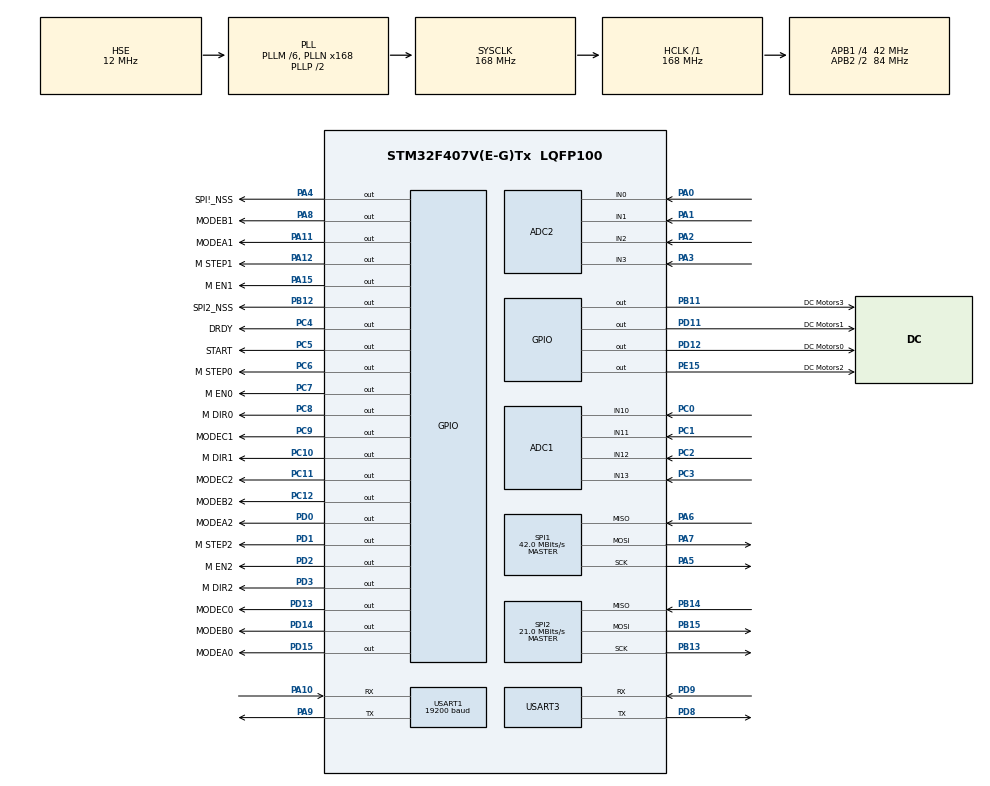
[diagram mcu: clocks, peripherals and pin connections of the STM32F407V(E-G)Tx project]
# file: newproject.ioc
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ADC1.Channel-0\#ChannelRegularConversion=ADC_CHANNEL_11
ADC1.ContinuousConvMode=ENABLE
ADC1.DiscontinuousConvMode=DISABLE
ADC1.InjNumberOfConversion=0
ADC1.NbrOfConversion=1
ADC1.NbrOfConversionFlag=1
ADC1.Rank-0\#ChannelRegularConversion=1
ADC1.SamplingTime-0\#ChannelRegularConversion=ADC_SAMPLETIME_3CYCLES
ADC1.ScanConvMode=ENABLE
ADC1.master=1
ADC2.Channel-0\#ChannelRegularConversion=ADC_CHANNEL_0
ADC2.ContinuousConvMode=ENABLE
ADC2.NbrOfConversionFlag=1
ADC2.Rank-0\#ChannelRegularConversion=1
ADC2.SamplingTime-0\#ChannelRegularConversion=ADC_SAMPLETIME_3CYCLES
ADC2.ScanConvMode=ENABLE
FREERTOS.Tasks01=defaultTask,0,128,StartDefaultTask,Default,NULL,Dynamic,NULL,NULL
FREERTOS.configENABLE_FPU=1
Mcu.Family=STM32F4
Mcu.Name=STM32F407V(E-G)Tx
Mcu.Package=LQFP100
NVIC.PriorityGroup=NVIC_PRIORITYGROUP_4
NVIC.TIM2_IRQn=true\:5\:0\:false\:false\:true\:true\:true\:true\:true
NVIC.USART1_IRQn=true\:5\:0\:false\:false\:true\:true\:true\:true\:true
PA0-WKUP.Signal=ADCx_IN0
PA1.Signal=ADCx_IN1
PA10.Mode=Asynchronous
PA10.Signal=USART1_RX
PA11.GPIO_Label=MODEA1
PA11.Signal=GPIO_Output
PA12.GPIO_Label=M STEP1
PA12.Signal=GPIO_Output
PA13.Mode=Serial_Wire
PA13.Signal=SYS_JTMS-SWDIO
PA14.Mode=Serial_Wire
PA14.Signal=SYS_JTCK-SWCLK
PA15.GPIO_Label=M EN1
PA15.Signal=GPIO_Output
PA2.Signal=ADCx_IN2
PA3.Signal=ADCx_IN3
PA4.GPIO_Label=SPI\!_NSS
PA4.Signal=GPIO_Output
PA5.Mode=Full_Duplex_Master
PA5.Signal=SPI1_SCK
PA6.Mode=Full_Duplex_Master
PA6.Signal=SPI1_MISO
PA7.Mode=Full_Duplex_Master
PA7.Signal=SPI1_MOSI
PA8.GPIO_Label=MODEB1
PA8.Signal=GPIO_Output
PA9.Mode=Asynchronous
PA9.Signal=USART1_TX
PB11.GPIO_Label=DC Motors3
PB11.Signal=GPIO_Output
PB12.GPIO_Label=SPI2_NSS
PB12.Signal=GPIO_Output
PB13.Mode=Full_Duplex_Master
PB13.Signal=SPI2_SCK
PB14.Mode=Full_Duplex_Master
PB14.Signal=SPI2_MISO
PB15.Mode=Full_Duplex_Master
PB15.Signal=SPI2_MOSI
PC0.Signal=ADCx_IN10
PC1.Signal=ADCx_IN11
PC10.GPIO_Label=M DIR1
PC10.Signal=GPIO_Output
PC11.GPIO_Label=MODEC2
PC11.Signal=GPIO_Output
PC12.GPIO_Label=MODEB2
PC12.Signal=GPIO_Output
PC2.Signal=ADCx_IN12
PC3.Signal=ADCx_IN13
PC4.GPIO_Label=DRDY
PC4.Signal=GPIO_Output
PC5.GPIO_Label=START
PC5.Signal=GPIO_Output
PC6.GPIO_Label=M STEP0
PC6.Signal=GPIO_Output
PC7.GPIO_Label=M EN0
PC7.Signal=GPIO_Output
PC8.GPIO_Label=M DIR0
PC8.Signal=GPIO_Output
PC9.GPIO_Label=MODEC1
PC9.Signal=GPIO_Output
PD0.GPIO_Label=MODEA2
PD0.Signal=GPIO_Output
PD1.GPIO_Label=M STEP2
PD1.Signal=GPIO_Output
PD11.GPIO_Label=DC Motors1
PD11.Signal=GPIO_Output
PD12.GPIO_Label=DC Motors0
PD12.Signal=GPIO_Output
PD13.GPIO_Label=MODEC0
PD13.Signal=GPIO_Output
PD14.GPIO_Label=MODEB0
PD14.Signal=GPIO_Output
PD15.GPIO_Label=MODEA0
PD15.Signal=GPIO_Output
PD2.GPIO_Label=M EN2
PD2.Signal=GPIO_Output
PD3.GPIO_Label=M DIR2
PD3.Signal=GPIO_Output
PD8.Mode=Asynchronous
PD8.Signal=USART3_TX
PD9.Mode=Asynchronous
PD9.Signal=USART3_RX
PE15.GPIO_Label=DC Motors2
PE15.Signal=GPIO_Output
PH0-OSC_IN.Mode=HSE-External-Oscillator
PH0-OSC_IN.Signal=RCC_OSC_IN
PH1-OSC_OUT.Mode=HSE-External-Oscillator
PH1-OSC_OUT.Signal=RCC_OSC_OUT
ProjectManager.HeapSize=0x200
ProjectManager.StackSize=0x400
ProjectManager.TargetToolchain=MDK-ARM V5
RCC.48MHZClocksFreq_Value=84000000
RCC.AHBFreq_Value=168000000
RCC.APB1CLKDivider=RCC_HCLK_DIV4
RCC.APB1Freq_Value=42000000
RCC.APB1TimFreq_Value=84000000
RCC.APB2CLKDivider=RCC_HCLK_DIV2
RCC.APB2Freq_Value=84000000
RCC.APB2TimFreq_Value=168000000
RCC.CortexFreq_Value=168000000
RCC.HCLKFreq_Value=168000000
RCC.HSE_VALUE=12000000
RCC.HSI_VALUE=16000000
RCC.LSE_VALUE=32768
RCC.PLLM=6
RCC.PLLN=168
RCC.PLLSourceVirtual=RCC_PLLSOURCE_HSE
RCC.SYSCLKFreq_VALUE=168000000
RCC.SYSCLKSource=RCC_SYSCLKSOURCE_PLLCLK
RCC.VCOOutputFreq_Value=336000000
SH.ADCx_IN0.0=ADC2_IN0,IN0
SH.ADCx_IN1.0=ADC2_IN1,IN1
SH.ADCx_IN10.0=ADC1_IN10,IN10
SH.ADCx_IN11.0=ADC1_IN11,IN11
SH.ADCx_IN12.0=ADC1_IN12,IN12
SH.ADCx_IN13.0=ADC1_IN13,IN13
SH.ADCx_IN2.0=ADC2_IN2,IN2
SH.ADCx_IN3.0=ADC2_IN3,IN3
SPI1.CalculateBaudRate=42.0 MBits/s
SPI1.Direction=SPI_DIRECTION_2LINES
SPI1.Mode=SPI_MODE_MASTER
SPI1.VirtualType=VM_MASTER
SPI2.CalculateBaudRate=21.0 MBits/s
SPI2.Direction=SPI_DIRECTION_2LINES
SPI2.Mode=SPI_MODE_MASTER
SPI2.VirtualType=VM_MASTER
TIM2.AutoReloadPreload=TIM_AUTORELOAD_PRELOAD_ENABLE
TIM2.Period=240
TIM2.Prescaler=28
USART1.BaudRate=19200
USART1.VirtualMode=VM_ASYNC
USART3.VirtualMode=VM_ASYNC
VP_FREERTOS_VS_CMSIS_V1.Mode=CMSIS_V1
VP_TIM2_VS_ClockSourceINT.Mode=Internal
board=custom

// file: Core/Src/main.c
/* USER CODE BEGIN Header */
/**
  ******************************************************************************
  * @file           : main.c
  * @brief          : Main program body
  ******************************************************************************
    * @attention
  *
  * Copyright (c) 2026 STMicroelectronics.
  * All rights reserved.
  *
  * This software is licensed under terms that can be found in the LICENSE file
  * in the root directory of this software component.
  * If no LICENSE file comes with this software, it is provided AS-IS.
  *
  ******************************************************************************
	*/
/* USER CODE END Header */

#include "main.h"
#include "cmsis_os.h"
#include "adc.h"
#include "spi.h"
#include "tim.h"
#include "usart.h"
#include "gpio.h"

/* USER CODE BEGIN Includes */
#include <string.h>
#include <stdio.h>
#include <stdlib.h>
#include <ctype.h>
#include <stdarg.h>
#include <math.h>
/* USER CODE END Includes */

/* USER CODE BEGIN PD */
#define RX_BUFFER_SIZE 64
#define ADC_TIMEOUT    10
#define STABLE_DELAY_MS 500
/* USER CODE END PD */

/* USER CODE BEGIN PV */
StepperMotor motors[MOTOR_COUNT];
volatile uint32_t step_timer_count = 0;

// 串口接收
uint8_t rx_byte;
char rx_buffer[RX_BUFFER_SIZE];
uint8_t rx_index = 0;
uint8_t cmd_ready = 0;
char cmd_buffer[RX_BUFFER_SIZE];

// 流程控制
ProcessCtrl procCtrl = {
    .state = SYS_IDLE,
    .current_op = OP_NONE,
    .current_step = 0,
    .step_start_time = 0,
    .wait_start_time = 0,
    .steps = NULL,
    .step_count = 0
};

// 调试模式
uint8_t debug_mode = 0;

// 上次结果
LastResults lastResults = {
    .sample_result = "",
    .urine_result = "",
    .slope_result = ""
};

// 校准参数
CalibrationParam cal_na = {DEFAULT_SLOPE_NA, DEFAULT_INTERCEPT, 0};
CalibrationParam cal_k  = {DEFAULT_SLOPE_K, DEFAULT_INTERCEPT, 0};
CalibrationParam cal_cl = {DEFAULT_SLOPE_CL, DEFAULT_INTERCEPT, 0};

// 版本信息
const char* version_str = "DISU4-760148-10C Ver1.0.00\r\n";

// 临时存储标液测量值（用于CAL）
static float stda_na_mv, stda_k_mv, stda_cl_mv;
static float stdb_na_mv, stdb_k_mv, stdb_cl_mv;
static uint8_t stda_measured = 0;

/* USER CODE END PV */

void SystemClock_Config(void);
void MX_FREERTOS_Init(void);

/* USER CODE BEGIN PFP */
// 电机动作函数（静态）声明
static void action_cal_step1(void);
static void action_cal_step2(void);
static void action_cal_step3(void);
static void action_cal_step4(void);
static void action_cal_step5(void);
static void action_cal_step6(void);
static void action_cal_step7(void);
static void action_sample_measure(void);
static void action_urine_measure(void);
static void action_prime_stda(void);
static void action_prime_stdb(void);

// 简单动作函数声明
static void action_clean(void);
static void action_power_clean(void);
static void action_none(void);
static void action_prime_ref(void);
static void action_prime_diluted(void);
static void action_disp_stda(void);
static void action_disp_stdb(void);

// 电机移动辅助函数
static void Motor_MoveSteps(uint8_t motor_id, uint32_t steps, uint8_t dir);
static void Motor_MoveStepsWithLiquidCheck(uint8_t motor_id, uint32_t steps, uint8_t dir, uint8_t enable_check);
static void MeasureAndDispense(const char* result_prefix, uint8_t is_cal, uint8_t cal_step);
/* USER CODE END PFP */

/* USER CODE BEGIN 0 */

// ---------- ADC 读取函数 ----------
float ADC_ReadVoltage(ADC_HandleTypeDef* hadc, uint32_t channel) {
    ADC_ChannelConfTypeDef sConfig = {0};
    sConfig.Channel = channel;
    sConfig.Rank = 1;
    sConfig.SamplingTime = ADC_SAMPLETIME_3CYCLES;
    HAL_ADC_ConfigChannel(hadc, &sConfig);
    HAL_ADC_Start(hadc);
    if (HAL_ADC_PollForConversion(hadc, ADC_TIMEOUT) == HAL_OK) {
        uint32_t adc_val = HAL_ADC_GetValue(hadc);
        HAL_ADC_Stop(hadc);
        return (adc_val * 3.0f) / 4095.0f;
    }
    HAL_ADC_Stop(hadc);
    return 0.0f;
}

float Read_Temperature(void) {
    float v = ADC_ReadVoltage(&hadc2, ADC_TEMP_CHANNEL);
    return TEMP_SLOPE * v + TEMP_OFFSET;
}

void Read_ElectrodeMV(float* na, float* k, float* cl, float* ref) {
    *na  = ADC_ReadVoltage(&hadc1, ADC_NA_CHANNEL) * 1000.0f;
    *k   = ADC_ReadVoltage(&hadc1, ADC_K_CHANNEL) * 1000.0f;
    *cl  = ADC_ReadVoltage(&hadc1, ADC_CL_CHANNEL) * 1000.0f;
    *ref = ADC_ReadVoltage(&hadc1, ADC_REF_CHANNEL) * 1000.0f;
}

float CalculateConcentration(float mv, float ref_mv, CalibrationParam* cal, float temp) {
    float e = mv - ref_mv;
    float s = cal->slope * (temp + 273.15f) / 298.15f;
    return powf(10.0f, (e - cal->intercept) / s);
}

// 执行两点校准
void PerformCalibration(float na_mv_stda, float k_mv_stda, float cl_mv_stda,
                        float na_mv_stdb, float k_mv_stdb, float cl_mv_stdb) {
    float temp = Read_Temperature();
    // 计算差值
    float e_na_a = na_mv_stda;
    float e_k_a  = k_mv_stda;
    float e_cl_a = cl_mv_stda;
    float e_na_b = na_mv_stdb;
    float e_k_b  = k_mv_stdb;
    float e_cl_b = cl_mv_stdb;

    // 计算斜率
    cal_na.slope = (e_na_b - e_na_a) / (log10f(STD_B_NA) - log10f(STD_A_NA));
    cal_na.intercept = e_na_a - cal_na.slope * log10f(STD_A_NA);
    cal_na.valid = 1;

    cal_k.slope = (e_k_b - e_k_a) / (log10f(STD_B_K) - log10f(STD_A_K));
    cal_k.intercept = e_k_a - cal_k.slope * log10f(STD_A_K);
    cal_k.valid = 1;

    cal_cl.slope = (e_cl_b - e_cl_a) / (log10f(STD_B_CL) - log10f(STD_A_CL));
    cal_cl.intercept = e_cl_a - cal_cl.slope * log10f(STD_A_CL);
    cal_cl.valid = 1;

    // 保存斜率结果
    snprintf(lastResults.slope_result, sizeof(lastResults.slope_result),
             "CAL_Na %.2f K %.2f Cl %.2f\r\n", cal_na.slope, cal_k.slope, cal_cl.slope);
}

// 更新上次结果
void UpdateLastResult(const char* type, float na, float k, float cl) {
    if (strcmp(type, "SAMPLE") == 0) {
        snprintf(lastResults.sample_result, sizeof(lastResults.sample_result),
                 "SAMPLE_Na %.2f K %.2f Cl %.2f\r\n", na, k, cl);
    } else if (strcmp(type, "URINE") == 0) {
        snprintf(lastResults.urine_result, sizeof(lastResults.urine_result),
                 "URINE_Na %.2f K %.2f Cl %.2f\r\n", na, k, cl);
    }
}

// ---------- 电机移动辅助函数 ----------
// 启动电机并等待完成（阻塞）
static void Motor_MoveSteps(uint8_t motor_id, uint32_t steps, uint8_t dir) {
    if (motor_id == 0) {
        Motor_StartMove(0, steps, 1);
    } else {
        Motor_StartMove(motor_id, steps, dir);
    }
    while (motors[motor_id].is_moving) {
        osDelay(1000);
    }
}

// 启动电机0并检测光耦
static void Motor_MoveStepsWithLiquidCheck(uint8_t motor_id, uint32_t steps, uint8_t dir, uint8_t enable_check) {
    if (motor_id != 0) {
        Motor_StartMove(motor_id, steps, dir);
        while (motors[motor_id].is_moving) {
            osDelay(1);
        }
        return;
    }

    Motor_StartMove(0, steps, 1);

    if (!enable_check) {
        // 不检测光耦，等待完成
        while (motors[0].is_moving) {
            osDelay(1);
        }
        return;
    }

    // 启用ADC光耦检测
    uint8_t liquid_detected = 0;
    uint32_t timeout_count = 0;
    const uint32_t MAX_CHECKS = 2000;

    while (motors[0].is_moving && timeout_count < MAX_CHECKS) {
        float voltage = ADC_ReadVoltage(LIQUID_SENSE_ADC, LIQUID_SENSE_ADC_CHANNEL);
        uint8_t current_liquid = (voltage < LIQUID_PRESENT_THRESHOLD_V) ? 1 : 0;

        UART_SendFormatted("ADC: raw=%d, voltage=%.2f V, state=%s\r\n",
                           (int)(voltage / 3.3f * 4095), voltage,
                           current_liquid ? "LIQUID" : "NO LIQUID");

        if (!liquid_detected) {
            // 等待第一次检测到有液
            if (current_liquid == 1) {
                liquid_detected = 1;
                UART_SendString("Liquid detected, continue moving...\r\n");
            }
        } else {
            if (current_liquid == 0) {
                Motor_Stop(0);
                UART_SendString("Liquid empty, motor stopped.\r\n");
                break;
            }
        }
        osDelay(10);
        timeout_count++;
    }

    if (motors[0].is_moving) {
        Motor_Stop(0);
        UART_SendString("Motor stopped by timeout.\r\n");
    }
}

// ---------- 通用测量过程 ----------
static void MeasureAndDispense(const char* result_prefix, uint8_t is_cal, uint8_t cal_step) {
    float na_mv, k_mv, cl_mv, ref_mv;
    float na_conc, k_conc, cl_conc;

    // 1. 吸入标液
    Motor_MoveStepsWithLiquidCheck(0, 10 * STEPS_PER_REV, 1, 1);

    // 2. 等待液体稳定
    HAL_Delay(MEASURE_STABLE_DELAY_MS);

    // 3. 读取电极电位
    Read_ElectrodeMV(&na_mv, &k_mv, &cl_mv, &ref_mv);
    float temp = Read_Temperature();

    if (is_cal) {
        if (cal_step == 1) {
            stda_na_mv = na_mv - ref_mv;
            stda_k_mv  = k_mv - ref_mv;
            stda_cl_mv = cl_mv - ref_mv;
            stda_measured = 1;
        } else if (cal_step == 2) {
            stdb_na_mv = na_mv - ref_mv;
            stdb_k_mv  = k_mv - ref_mv;
            stdb_cl_mv = cl_mv - ref_mv;
        }
        if (cal_step == 1) {
            UART_SendFormatted("1-CAL_Na %.2f K %.2f Cl %.2f\r\n", STD_A_NA, STD_A_K, STD_A_CL);
        } else {
            UART_SendFormatted("2-CAL_Na %.2f K %.2f Cl %.2f\r\n", STD_B_NA, STD_B_K, STD_B_CL);
        }
    } else {
        na_conc = CalculateConcentration(na_mv, ref_mv, &cal_na, temp);
        k_conc  = CalculateConcentration(k_mv, ref_mv, &cal_k, temp);
        cl_conc = CalculateConcentration(cl_mv, ref_mv, &cal_cl, temp);
        UART_SendFormatted("%s %.2f K %.2f Cl %.2f\r\n", result_prefix, na_conc, k_conc, cl_conc);
        UpdateLastResult(result_prefix, na_conc, k_conc, cl_conc);
    }

    // 4. 排出废液
    Motor_MoveStepsWithLiquidCheck(0, 3 * STEPS_PER_REV, 1, 0);
}

// ---------- 电机动作函数 ----------
static void action_cal_step1(void) {
    // 电机2转3圈，方向1
    Motor_MoveSteps(2, 3 * STEPS_PER_REV, 0);
}
static void action_cal_step2(void) {
    MeasureAndDispense("", 1, 1);
}
static void action_cal_step3(void) {}
static void action_cal_step4(void) {
    // 电机1转3圈，方向1
    Motor_MoveSteps(1, 3 * STEPS_PER_REV, 0);
}
static void action_cal_step5(void) {
    MeasureAndDispense("", 1, 2);
}
static void action_cal_step6(void) {}
static void action_cal_step7(void) {
    if (stda_measured) {
        PerformCalibration(stda_na_mv, stda_k_mv, stda_cl_mv,
                           stdb_na_mv, stdb_k_mv, stdb_cl_mv);
        UART_SendString(lastResults.slope_result);
    } else {
        UART_SendString("ERROR CAL FAILED\r\n");
    }
}
static void action_sample_measure(void) {
    MeasureAndDispense("SAMPLE_Na", 0, 0);
}
static void action_urine_measure(void) {
    MeasureAndDispense("URINE_Na", 0, 0);
}
static void action_prime_stda(void) {
    // 电机2转3圈
    Motor_MoveSteps(2, 3 * STEPS_PER_REV, 1);
    MeasureAndDispense("", 0, 0);
}
static void action_prime_stdb(void) {
    // 电机1转3圈
    Motor_MoveSteps(1, 3 * STEPS_PER_REV, 1);
    MeasureAndDispense("", 0, 0);
}

// 简单动作函数实现
static void action_clean(void) {
    Motor_StartMove(2, 3000, 0);
	  Motor_StartMove(0, 6000, 1);
}
static void action_power_clean(void) {
    Motor_StartMove(2, 800, 0);
    Motor_StartMove(0, 800, 1);
}
static void action_prime_ref(void) {
    Motor_StartMove(2, 2000, 0);
}
static void action_prime_diluted(void) {
    Motor_StartMove(0, 600, 1);
}
static void action_disp_stda(void) {
    Motor_StartMove(2, 1000, 1);
}
static void action_disp_stdb(void) {
    Motor_StartMove(1, 1000, 1);
}
static void action_none(void) {}

// ---------- 流程步骤数组定义 ----------
static const Step cal_steps[] = {
    {0, action_cal_step1, NULL},
    {0, action_cal_step2, NULL},
    {0, action_cal_step3, NULL},
    {0, action_cal_step4, NULL},
    {0, action_cal_step5, NULL},
    {0, action_cal_step6, NULL},
    {0, action_cal_step7, NULL},
};

static const Step sample_steps[] = {
    {0, action_sample_measure, NULL},
};

static const Step urine_steps[] = {
    {0, action_urine_measure, NULL},
};

static const Step clean_steps[] = {
    {8000, action_clean, "CLEAN_OK\r\n"},
    {8000, action_clean, "CLEAN_OK\r\n"},
    {8000, action_clean, "CLEAN_OK\r\n"},
    {8000, action_clean, "CLEAN_END\r\n"},
};

static const Step power_clean_steps[] = {
    {128000, action_power_clean, "POWER_CLEAN_END\r\n"},
};

static const Step maint_steps[] = {
    {8000, action_none, "MAINT_END\r\n"},
};

static const Step prime_stda_steps[] = {
    {0, action_prime_stda, "PRIME_STDA_END\r\n"},
};

static const Step prime_stdb_steps[] = {
    {0, action_prime_stdb, "PRIME_STDB_END\r\n"},
};

static const Step prime_ref_steps[] = {
    {10000, action_prime_ref, "PRIME_REF_END\r\n"},
};

static const Step prime_diluted_steps[] = {
    {97000, action_prime_diluted, "PRIME_DILUTED_END\r\n"},
};

static const Step disp_stda_steps[] = {
    {4000, action_disp_stda, "DISP_STDA_END\r\n"},
};

static const Step disp_stdb_steps[] = {
    {4000, action_disp_stdb, "DISP_STDB_END\r\n"},
};

// ---------- 流程控制函数 ----------
void Process_StartProcedure(OperationType op, const Step* steps, uint32_t count, uint8_t wait_start) {
    if (procCtrl.state != SYS_IDLE) {
        UART_SendString("ERROR BUSY\r\n");
        return;
    }
    if (wait_start) {
        procCtrl.state = SYS_WAITING_START;
        procCtrl.current_op = op;
        procCtrl.wait_start_time = HAL_GetTick();
    } else {
        procCtrl.state = SYS_RUNNING;
        procCtrl.current_op = op;
        procCtrl.current_step = 0;
        procCtrl.steps = steps;
        procCtrl.step_count = count;
        if (steps[0].action) steps[0].action();
        procCtrl.step_start_time = HAL_GetTick();
    }
}

void Process_Abort(void) {
    Motor_Stop_All();
    procCtrl.state = SYS_IDLE;
}

void Process_CheckTimeout(void) {
    if (procCtrl.state == SYS_WAITING_START) {
        if (HAL_GetTick() - procCtrl.wait_start_time >= TIMEOUT_MS) {
            const char* op_str = "";
            switch (procCtrl.current_op) {
                case OP_SAMPLE: op_str = "SAMPLE"; break;
                case OP_URINE: op_str = "URINE"; break;
                case OP_CLEAN: op_str = "CLEAN"; break;
                case OP_POWER_CLEAN: op_str = "POWER_CLEAN"; break;
                default: op_str = "UNKNOWN";
            }
            UART_SendFormatted("ERROR %s TIMEOUT\r\n", op_str);
            Process_Abort();
        }
    }
}

void Process_RunStep(void) {
    if (procCtrl.state != SYS_RUNNING) return;

    uint32_t now = HAL_GetTick();
    if (now - procCtrl.step_start_time >= procCtrl.steps[procCtrl.current_step].duration_ms) {
        const Step* step = &procCtrl.steps[procCtrl.current_step];
        if (step->response_fmt && step->response_fmt[0] != '\0') {
            UART_SendString(step->response_fmt);
        }

        if (procCtrl.current_step + 1 >= procCtrl.step_count) {
            Process_Abort();
            return;
        }

        procCtrl.current_step++;
        if (procCtrl.steps[procCtrl.current_step].action) {
            procCtrl.steps[procCtrl.current_step].action();
        }
        procCtrl.step_start_time = now;
    }
}

// 格式化发送
void UART_SendFormatted(const char *fmt, ...) {
    char buffer[128];
    va_list args;
    va_start(args, fmt);
    vsnprintf(buffer, sizeof(buffer), fmt, args);
    va_end(args);
    UART_SendString(buffer);
}

// ---------- 命令处理 ----------
void Cmd_CAL(void) {
    Process_StartProcedure(OP_CAL, cal_steps, sizeof(cal_steps)/sizeof(Step), 0);
}
void Cmd_SAMPLE(void) {
    Process_StartProcedure(OP_SAMPLE, sample_steps, sizeof(sample_steps)/sizeof(Step), 1);
    UART_SendString("SAMPLE_OK\r\n");
}
void Cmd_URINE(void) {
    Process_StartProcedure(OP_URINE, urine_steps, sizeof(urine_steps)/sizeof(Step), 1);
    UART_SendString("URINE_OK\r\n");
}
void Cmd_CLEAN(void) {
    Process_StartProcedure(OP_CLEAN, clean_steps, sizeof(clean_steps)/sizeof(Step), 1);
    UART_SendString("CLEAN_OK\r\n");
}
void Cmd_POWER_CLEAN(void) {
    Process_StartProcedure(OP_POWER_CLEAN, power_clean_steps, sizeof(power_clean_steps)/sizeof(Step), 1);
    UART_SendString("POWER_CLEAN_OK\r\n");
}
void Cmd_MAINT(void) {
    Process_StartProcedure(OP_MAINT, maint_steps, sizeof(maint_steps)/sizeof(Step), 0);
}
void Cmd_PRIME_STDA(void) {
    Process_StartProcedure(OP_PRIME_STDA, prime_stda_steps, sizeof(prime_stda_steps)/sizeof(Step), 0);
}
void Cmd_PRIME_STDB(void) {
    Process_StartProcedure(OP_PRIME_STDB, prime_stdb_steps, sizeof(prime_stdb_steps)/sizeof(Step), 0);
}
void Cmd_PRIME_REF(void) {
    Process_StartProcedure(OP_PRIME_REF, prime_ref_steps, sizeof(prime_ref_steps)/sizeof(Step), 0);
}
void Cmd_PRIME_DILUTED(void) {
    Process_StartProcedure(OP_PRIME_DILUTED, prime_diluted_steps, sizeof(prime_diluted_steps)/sizeof(Step), 0);
}
void Cmd_DISP_STDA(void) {
    Process_StartProcedure(OP_DISP_STDA, disp_stda_steps, sizeof(disp_stda_steps)/sizeof(Step), 0);
}
void Cmd_DISP_STDB(void) {
    Process_StartProcedure(OP_DISP_STDB, disp_stdb_steps, sizeof(disp_stdb_steps)/sizeof(Step), 0);
}
void Cmd_START(void) {
    if (procCtrl.state != SYS_WAITING_START) {
        UART_SendString("ERROR NOT WAITING FOR START\r\n");
        return;
    }
    const Step* steps = NULL;
    uint32_t count = 0;
    OperationType op = procCtrl.current_op;
    switch (op) {
        case OP_SAMPLE: steps = sample_steps; count = sizeof(sample_steps)/sizeof(Step); break;
        case OP_URINE: steps = urine_steps; count = sizeof(urine_steps)/sizeof(Step); break;
        case OP_CLEAN: steps = clean_steps; count = sizeof(clean_steps)/sizeof(Step); break;
        case OP_POWER_CLEAN: steps = power_clean_steps; count = sizeof(power_clean_steps)/sizeof(Step); break;
        default: UART_SendString("ERROR NO PENDING OPERATION\r\n"); procCtrl.state = SYS_IDLE; return;
    }
    procCtrl.state = SYS_RUNNING;
    procCtrl.current_step = 0;
    procCtrl.steps = steps;
    procCtrl.step_count = count;
    if (steps[0].action) steps[0].action();
    procCtrl.step_start_time = HAL_GetTick();
}
void Cmd_LAST_RESULT(void) {
    if (strlen(lastResults.sample_result) > 0) UART_SendString(lastResults.sample_result);
    if (strlen(lastResults.urine_result) > 0) UART_SendString(lastResults.urine_result);
}
void Cmd_LAST_SLOPE(void) {
    if (strlen(lastResults.slope_result) > 0) UART_SendString(lastResults.slope_result);
    else UART_SendString("NO SLOPE DATA\r\n");
}
void Cmd_READ_MV(void) {
    float na, k, cl, ref;
    Read_ElectrodeMV(&na, &k, &cl, &ref);
    UART_SendFormatted("MV_Na %6.2f K %6.2f Cl %6.2f\r\n", na, k, cl);
    UART_SendFormatted("MV_Na %6.2f K %6.2f Cl %6.2f\r\n", na-0.02f, k+0.01f, cl-0.02f);
}
void Cmd_VERSION(void) {
    UART_SendString(version_str);
}
void Cmd_ECAPE(void) {
    UART_SendString("INVALID CMD\r\n");
}
void Cmd_DEBUG_MODE(void) {
    debug_mode = 1;
    UART_SendString("DEBUG_MODE_OK\r\n");
}
void Cmd_DEBUG_OFF(void) {
    debug_mode = 0;
    UART_SendString("DEBUG_MODE_END\r\n");
}

// ---------- 电机控制函数 ----------
void Motor_InitAll(void) {
    HAL_GPIO_WritePin(MODEA0_GPIO_Port, MODEA0_Pin, GPIO_PIN_SET);
    HAL_GPIO_WritePin(MODEB0_GPIO_Port, MODEB0_Pin, GPIO_PIN_SET);
    HAL_GPIO_WritePin(MODEC0_GPIO_Port, MODEC0_Pin, GPIO_PIN_RESET);
    HAL_GPIO_WritePin(MODEA1_GPIO_Port, MODEA1_Pin, GPIO_PIN_SET);
    HAL_GPIO_WritePin(MODEB1_GPIO_Port, MODEB1_Pin, GPIO_PIN_SET);
    HAL_GPIO_WritePin(MODEC1_GPIO_Port, MODEC1_Pin, GPIO_PIN_RESET);
    HAL_GPIO_WritePin(MODEA2_GPIO_Port, MODEA2_Pin, GPIO_PIN_SET);
    HAL_GPIO_WritePin(MODEB2_GPIO_Port, MODEB2_Pin, GPIO_PIN_SET);
    HAL_GPIO_WritePin(MODEC2_GPIO_Port, MODEC2_Pin, GPIO_PIN_RESET);
    HAL_Delay(100);
    for (uint8_t i = 0; i < MOTOR_COUNT; i++) {
        Motor_Init(i);
    }
}

/**
  * @brief 初始化单个电机
  */
void Motor_Init(uint8_t id) {
    if (id >= MOTOR_COUNT) return;
    StepperMotor* motor = &motors[id];
    switch(id) {
        case 0:
            motor->step_port = M_STEP0_GPIO_Port; motor->step_pin = M_STEP0_Pin;
            motor->dir_port = M_DIR0_GPIO_Port; motor->dir_pin = M_DIR0_Pin;
            motor->en_port = M_EN0_GPIO_Port; motor->en_pin = M_EN0_Pin;
            break;
        case 1:
            motor->step_port = M_STEP1_GPIO_Port; motor->step_pin = M_STEP1_Pin;
            motor->dir_port = M_DIR1_GPIO_Port; motor->dir_pin = M_DIR1_Pin;
            motor->en_port = M_EN1_GPIO_Port; motor->en_pin = M_EN1_Pin;
            break;
        case 2:
            motor->step_port = M_STEP2_GPIO_Port; motor->step_pin = M_STEP2_Pin;
            motor->dir_port = M_DIR2_GPIO_Port; motor->dir_pin = M_DIR2_Pin;
            motor->en_port = M_EN2_GPIO_Port; motor->en_pin = M_EN2_Pin;
            break;
    }
		// 初始化参数调整
    motor->target_steps = 0;
    motor->current_steps = 0;
    motor->is_moving = 0;
    motor->direction = 1;
    motor->step_delay = STEP_DELAY_MS;
    HAL_GPIO_WritePin(motor->step_port, motor->step_pin, GPIO_PIN_RESET);
    Motor_SetDirection(id, 1);
    Motor_Enable(id, 0);
    HAL_Delay(10);
}

/**
  * @brief 使能/禁用电机
  */
void Motor_Enable(uint8_t motor_id, uint8_t enable) {
    if (motor_id >= MOTOR_COUNT) return;
    StepperMotor* motor = &motors[motor_id];
    HAL_GPIO_WritePin(motor->en_port, motor->en_pin, enable ? GPIO_PIN_RESET : GPIO_PIN_SET);
}

/**
  * @brief 设置电机方向
  */
void Motor_SetDirection(uint8_t motor_id, uint8_t direction) {
    if (motor_id >= MOTOR_COUNT) return;
    StepperMotor* motor = &motors[motor_id];
    HAL_GPIO_WritePin(motor->dir_port, motor->dir_pin, direction ? GPIO_PIN_SET : GPIO_PIN_RESET);
}

/**
  * @brief 启动电机移动
  */
void Motor_StartMove(uint8_t motor_id, uint32_t steps, uint8_t dir) {
    if (motor_id >= MOTOR_COUNT) return;
    StepperMotor* motor = &motors[motor_id];
    motor->target_steps = steps;
    motor->current_steps = 0;
    motor->direction = dir;
    motor->is_moving = 1;
    Motor_SetDirection(motor_id, dir);
    Motor_Enable(motor_id, 1);
}

/**
  * @brief 停止单个电机
  */
void Motor_Stop(uint8_t motor_id) {
    if (motor_id >= MOTOR_COUNT) return;
    StepperMotor* motor = &motors[motor_id];
    motor->is_moving = 0;
    motor->target_steps = 0;
    motor->current_steps = 0;
    Motor_Enable(motor_id, 0);
    HAL_GPIO_WritePin(motor->step_port, motor->step_pin, GPIO_PIN_RESET);
}

/**
  * @brief 停止全部电机
  */
void Motor_Stop_All(void) {
    for (uint8_t i = 0; i < MOTOR_COUNT; i++) Motor_Stop(i);
}

/**
  * @brief 定时器中断中处理步进脉冲
  */
void Motor_ProcessStep(void) {
    for (uint8_t i = 0; i < MOTOR_COUNT; i++) {
        StepperMotor* motor = &motors[i];
        if (motor->is_moving && motor->current_steps < motor->target_steps) {
            HAL_GPIO_TogglePin(motor->step_port, motor->step_pin);
            motor->current_steps++;
            if (motor->current_steps >= motor->target_steps) {
                motor->is_moving = 0;
                Motor_Enable(i, 0);
            }
        }
    }
}

/**
  * @brief 定时器中断回调函数
  */
void HAL_TIM_PeriodElapsedCallback(TIM_HandleTypeDef *htim) {
    if (htim->Instance == TIM2) {
        step_timer_count++;
        if (step_timer_count >= 1) {
            Motor_ProcessStep();
            step_timer_count = 0;
        }
    }
}

/**
  * @brief UART接收完成回调
  */
void HAL_UART_RxCpltCallback(UART_HandleTypeDef *huart) {
    if (huart->Instance == USART1) {
        if (rx_index < RX_BUFFER_SIZE - 1) {
            if (rx_byte == '\n' || rx_byte == '\r') {
                if (rx_index > 0) {
                    rx_buffer[rx_index] = '\0';
                    strcpy(cmd_buffer, rx_buffer);
                    cmd_ready = 1;
                    rx_index = 0;
                }
            } else {
                rx_buffer[rx_index++] = (char)rx_byte;
            }
        } else {
            rx_index = 0;
        }
        HAL_UART_Receive_IT(&huart1, &rx_byte, 1);
    }
}

/**
  * @brief 通过串口发送字符串
  */
void UART_SendString(const char *str) {
    HAL_UART_Transmit(&huart1, (uint8_t*)str, strlen(str), 100);
}

/**
  * @brief 发送响应
  */
void UART_SendResponse(const char *status, uint8_t motor_id, uint32_t steps) {
    char resp[64];
    if (steps > 0) sprintf(resp, "M%d %s %lu\r\n", motor_id, status, steps);
    else sprintf(resp, "M%d %s\r\n", motor_id, status);
    UART_SendString(resp);
}

// ---------- 命令解析 ----------
void Parse_Command(char *cmd) {
    while (*cmd == ' ') cmd++;
    char *end = cmd + strlen(cmd) - 1;
    while (end > cmd && (*end == ' ' || *end == '\r' || *end == '\n')) {
        *end = '\0';
        end--;
    }

    // 查询类命令
    if (strcmp(cmd, "VERSION") == 0) { Cmd_VERSION(); return; }
    if (strcmp(cmd, "LAST_RESULT") == 0) { Cmd_LAST_RESULT(); return; }
    if (strcmp(cmd, "LAST_SLOPE") == 0) { Cmd_LAST_SLOPE(); return; }
    if (strcmp(cmd, "READ_MV") == 0) { Cmd_READ_MV(); return; }
    if (strcmp(cmd, "ECAPE") == 0) { Cmd_ECAPE(); return; }
    if (strcmp(cmd, "DEBUG_MODE") == 0) { Cmd_DEBUG_MODE(); return; }
    if (strcmp(cmd, "DEBUG_OFF") == 0) { Cmd_DEBUG_OFF(); return; }

    // 电机控制
    if (cmd[0] == 'M' || cmd[0] == 'm') {
        uint8_t id; char dir; uint32_t steps;
        if (cmd[1] < '0' || cmd[1] > '2') { UART_SendString("Motor ID 0-2\r\n"); return; }
        id = cmd[1] - '0';
        dir = toupper(cmd[2]);
        if (dir == 'S') { Motor_Stop(id); UART_SendResponse("STOPPED", id, 0); return; }
        else if (dir == 'F' || dir == 'R') {
            char *s = cmd + 3;
            for (char *p = s; *p; p++) if (!isdigit(*p)) { UART_SendString("Steps number\r\n"); return; }
            steps = atoi(s);
            if (steps == 0) { UART_SendString("Steps >0\r\n"); return; }
            uint8_t d = (dir == 'F') ? 1 : 0;
            Motor_StartMove(id, steps, d);
            UART_SendFormatted("M%d %s %lu\r\n", id, d?"FORWARD":"REVERSE", steps);
        } else UART_SendString("Invalid direction\r\n");
        return;
    }

    // 状态检查
    if (procCtrl.state != SYS_IDLE) {
        if (strcmp(cmd, "START") == 0) {
            if (procCtrl.state == SYS_WAITING_START) Cmd_START();
            else UART_SendString("ERROR NOT WAITING FOR START\r\n");
        } else {
            UART_SendFormatted("ERROR %s RUNNING\r\n", cmd);
        }
        return;
    }

    // 空闲命令
    if (strcmp(cmd, "CAL") == 0) Cmd_CAL();
    else if (strcmp(cmd, "SAMPLE") == 0) Cmd_SAMPLE();
    else if (strcmp(cmd, "URINE") == 0) Cmd_URINE();
    else if (strcmp(cmd, "CLEAN") == 0) Cmd_CLEAN();
    else if (strcmp(cmd, "POWER_CLEAN") == 0) Cmd_POWER_CLEAN();
    else if (strcmp(cmd, "MAINT") == 0) Cmd_MAINT();
    else if (strcmp(cmd, "PRIME_STDA") == 0) Cmd_PRIME_STDA();
    else if (strcmp(cmd, "PRIME_STDB") == 0) Cmd_PRIME_STDB();
    else if (strcmp(cmd, "PRIME_REF") == 0) Cmd_PRIME_REF();
    else if (strcmp(cmd, "PRIME_DILUTED") == 0) Cmd_PRIME_DILUTED();
    else if (strcmp(cmd, "DISP_STDA") == 0) Cmd_DISP_STDA();
    else if (strcmp(cmd, "DISP_STDB") == 0) Cmd_DISP_STDB();
    else UART_SendString("INVALID CMD\r\n");
}

// ---------- FreeRTOS任务 ----------
void StartMotorTask(void const * argument) {
    Motor_InitAll();
    for (;;) {
        if (cmd_ready) {
            cmd_ready = 0;
            Parse_Command(cmd_buffer);
        }
        Process_CheckTimeout();
        Process_RunStep();
        osDelay(10);
    }
}

/* USER CODE END 0 */

int main(void) {
    HAL_Init();
    SystemClock_Config();

    MX_GPIO_Init();
    MX_SPI1_Init();
    MX_SPI2_Init();
    MX_TIM2_Init();
    MX_USART1_UART_Init();
    MX_USART3_UART_Init();
    MX_ADC1_Init();
    MX_ADC2_Init();

    /* USER CODE BEGIN 2 */
    HAL_TIM_Base_Start_IT(&htim2);
    HAL_NVIC_SetPriority(USART1_IRQn, 1, 0);
    HAL_NVIC_SetPriority(TIM2_IRQn, 2, 0);
    HAL_UART_Receive_IT(&huart1, &rx_byte, 1);

    // 初始化光耦检测引脚
    GPIO_InitTypeDef GPIO_InitStruct = {0};
    __HAL_RCC_GPIOA_CLK_ENABLE();
    GPIO_InitStruct.Pin = LIQUID_SENSE_PIN;
    GPIO_InitStruct.Mode = GPIO_MODE_INPUT;
    GPIO_InitStruct.Pull = GPIO_PULLDOWN;
    HAL_GPIO_Init(LIQUID_SENSE_PORT, &GPIO_InitStruct);

    UART_SendString("ISE Module System Ready (Liquid Detection via Optocoupler)\r\n");
    UART_SendString("Commands: M0F500, M0R500, M0S, CAL, SAMPLE, URINE, CLEAN, POWER_CLEAN, MAINT,\r\n");
    UART_SendString("PRIME_STDA, PRIME_STDB, PRIME_REF, PRIME_DILUTED, DISP_STDA, DISP_STDB,\r\n");
    UART_SendString("START, LAST_RESULT, LAST_SLOPE, READ_MV, VERSION, DEBUG_MODE, DEBUG_OFF\r\n");
    /* USER CODE END 2 */
    /* Call init function for freertos objects (in cmsis_os2.c) */
    MX_FREERTOS_Init();

    /* Start scheduler */
    osKernelStart();

    /* We should never get here as control is now taken by the scheduler */

    /* Infinite loop */
    /* USER CODE BEGIN WHILE */
    while (1) {
        osDelay(1000);
        /* USER CODE END WHILE */

    }
}

void SystemClock_Config(void) {
    RCC_OscInitTypeDef RCC_OscInitStruct = {0};
    RCC_ClkInitTypeDef RCC_ClkInitStruct = {0};

    /** Configure the main internal regulator output voltage
    */
    __HAL_RCC_PWR_CLK_ENABLE();
    __HAL_PWR_VOLTAGESCALING_CONFIG(PWR_REGULATOR_VOLTAGE_SCALE1);

    /** Initializes the RCC Oscillators according to the specified parameters
    * in the RCC_OscInitTypeDef structure.
    */
    RCC_OscInitStruct.OscillatorType = RCC_OSCILLATORTYPE_HSE;
    RCC_OscInitStruct.HSEState = RCC_HSE_ON;
    RCC_OscInitStruct.PLL.PLLState = RCC_PLL_ON;
    RCC_OscInitStruct.PLL.PLLSource = RCC_PLLSOURCE_HSE;
    RCC_OscInitStruct.PLL.PLLM = 6;
    RCC_OscInitStruct.PLL.PLLN = 168;
    RCC_OscInitStruct.PLL.PLLP = RCC_PLLP_DIV2;
    RCC_OscInitStruct.PLL.PLLQ = 4;
    if (HAL_RCC_OscConfig(&RCC_OscInitStruct) != HAL_OK) {
        Error_Handler();
    }

    /** Initializes the CPU, AHB and APB buses clocks
    */
    RCC_ClkInitStruct.ClockType = RCC_CLOCKTYPE_HCLK | RCC_CLOCKTYPE_SYSCLK
                                  | RCC_CLOCKTYPE_PCLK1 | RCC_CLOCKTYPE_PCLK2;
    RCC_ClkInitStruct.SYSCLKSource = RCC_SYSCLKSOURCE_PLLCLK;
    RCC_ClkInitStruct.AHBCLKDivider = RCC_SYSCLK_DIV1;
    RCC_ClkInitStruct.APB1CLKDivider = RCC_HCLK_DIV4;
    RCC_ClkInitStruct.APB2CLKDivider = RCC_HCLK_DIV2;

    if (HAL_RCC_ClockConfig(&RCC_ClkInitStruct, FLASH_LATENCY_5) != HAL_OK) {
        Error_Handler();
    }
}

void Error_Handler(void) {
    __disable_irq();
    while (1) {
    }
}

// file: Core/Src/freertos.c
/* USER CODE BEGIN Header */
/**
  ******************************************************************************
  * File Name          : freertos.c
  * Description        : Code for freertos applications
  ******************************************************************************
  * @attention
  *
  * Copyright (c) 2026 STMicroelectronics.
  * All rights reserved.
  *
  * This software is licensed under terms that can be found in the LICENSE file
  * in the root directory of this software component.
  * If no LICENSE file comes with this software, it is provided AS-IS.
  *
  ******************************************************************************
  */
/* USER CODE END Header */

#include "FreeRTOS.h"
#include "task.h"
#include "main.h"
#include "cmsis_os.h"

/* USER CODE BEGIN Includes */
#include "main.h"
#include <string.h>
#include <stdio.h>
#include "adc.h"

extern UART_HandleTypeDef huart1;
/* USER CODE END Includes */

/* USER CODE BEGIN Variables */
extern StepperMotor motors[MOTOR_COUNT];
/* USER CODE END Variables */
osThreadId defaultTaskHandle;
osThreadId motorTaskHandle;

void StartDefaultTask(void const * argument);

void MX_FREERTOS_Init(void); /* (MISRA C 2004 rule 8.1) */

/* GetIdleTaskMemory prototype (linked to static allocation support) */
void vApplicationGetIdleTaskMemory( StaticTask_t **ppxIdleTaskTCBBuffer, StackType_t **ppxIdleTaskStackBuffer, uint32_t *pulIdleTaskStackSize );

/* USER CODE BEGIN GET_IDLE_TASK_MEMORY */
static StaticTask_t xIdleTaskTCBBuffer;
static StackType_t xIdleStack[configMINIMAL_STACK_SIZE];

void vApplicationGetIdleTaskMemory( StaticTask_t **ppxIdleTaskTCBBuffer, StackType_t **ppxIdleTaskStackBuffer, uint32_t *pulIdleTaskStackSize )
{
  *ppxIdleTaskTCBBuffer = &xIdleTaskTCBBuffer;
  *ppxIdleTaskStackBuffer = &xIdleStack[0];
  *pulIdleTaskStackSize = configMINIMAL_STACK_SIZE;
  /* place for user code */
}
/* USER CODE END GET_IDLE_TASK_MEMORY */

void MX_FREERTOS_Init(void) {

  /* Create the thread(s) */
  /* definition and creation of defaultTask */
  osThreadDef(defaultTask, StartDefaultTask, osPriorityNormal, 0, 256);
  defaultTaskHandle = osThreadCreate(osThread(defaultTask), NULL);

  /* USER CODE BEGIN RTOS_THREADS */
  /* add threads, ... */
	osThreadDef(motorTask, StartMotorTask, osPriorityNormal, 0, 256);
    motorTaskHandle = osThreadCreate(osThread(motorTask), NULL);
  /* USER CODE END RTOS_THREADS */

}

void StartDefaultTask(void const * argument)
{
  /* USER CODE BEGIN StartDefaultTask */
  /* Infinite loop */
 // 初始化电机系统
  Motor_InitAll();

  // 发送任务启动消息
HAL_UART_Transmit(&huart1, (uint8_t*)"Motor Task Started\n", 19, 100);
  Motor_SetDirection(0, 1);
  Motor_Enable(0, 1);
  /* Infinite loop */
  for(;;)
  {
    /* 电机运动序列演示 */

    // 电机1：正向移动500步
//    Motor_StartMove(0, 500, 1);
//		float voltage = ADC_ReadVoltage(LIQUID_SENSE_ADC, LIQUID_SENSE_ADC_CHANNEL);
//		UART_SendFormatted("ADC init: raw=%d, voltage=%.2f V\r\n",
//                       (int)(voltage/3.3f*4095), voltage);
		osDelay(100);
//    osDelay(3000);  // 等待3秒完成移动

//    // 电机1：反向移动500步
//    Motor_StartMove(0, 500, 0);
//    osDelay(3000);
//
//    // 电机2：正向移动300步
//    Motor_StartMove(1, 300, 1);
//    osDelay(2000);
//
//    // 电机2：反向移动300步
//    Motor_StartMove(1, 300, 0);
//    osDelay(2000);
//
//    // 电机3：正向移动200步
//    Motor_StartMove(2, 200, 1);
//    osDelay(1500);
//
//    // 电机3：反向移动200步
//    Motor_StartMove(2, 200, 0);
//    osDelay(1500);
//
//    // 所有电机同时正向移动100步（同步演示）
//    Motor_StartMove(0, 100, 1);
//    Motor_StartMove(1, 100, 1);
//    Motor_StartMove(2, 100, 1);
//    osDelay(2000);
//
//    // 停止所有电机
//    Motor_Stop_All();
//    osDelay(1000);
//
    // 发送状态消息
//    HAL_UART_Transmit(&huart1, (uint8_t*)"Motor Sequence Completed, Restarting...\n", 42, 100);
  }
  /* USER CODE END StartDefaultTask */
}
